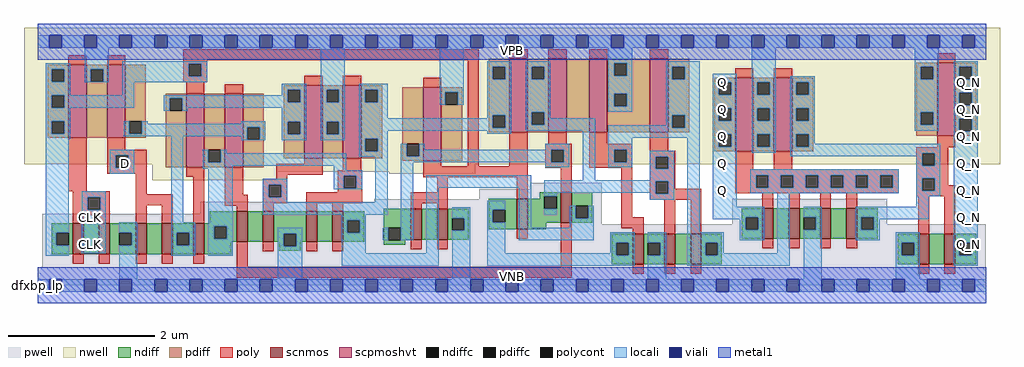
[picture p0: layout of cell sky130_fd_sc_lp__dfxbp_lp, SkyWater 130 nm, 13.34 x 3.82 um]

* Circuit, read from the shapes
.subckt sky130_fd_sc_lp__dfxbp_lp CLK D VGND VNB VPB VPWR Q Q_N
XM1 n1 CLK n2 VNB sky130_fd_pr__nfet_01v8 w=0.42 l=0.15
XM2 VGND CLK n1 VNB sky130_fd_pr__nfet_01v8 w=0.42 l=0.15
XM3 n3 D VGND VNB sky130_fd_pr__nfet_01v8 w=0.42 l=0.15
XM4 n4 D n3 VNB sky130_fd_pr__nfet_01v8 w=0.42 l=0.15
XM5 n5 n2 n4 VNB sky130_fd_pr__nfet_01v8 w=0.42 l=0.15
XM6 n6 n7 n5 VNB sky130_fd_pr__nfet_01v8 w=0.42 l=0.15
XM7 VGND n8 n6 VNB sky130_fd_pr__nfet_01v8 w=0.42 l=0.15
XM8 n9 n5 VGND VNB sky130_fd_pr__nfet_01v8 w=0.42 l=0.15
XM9 n8 n5 n9 VNB sky130_fd_pr__nfet_01v8 w=0.42 l=0.15
XM10 n10 n2 n7 VNB sky130_fd_pr__nfet_01v8 w=0.42 l=0.15
XM11 VGND n2 n10 VNB sky130_fd_pr__nfet_01v8 w=0.42 l=0.15
XM12 n11 n2 n12 VNB sky130_fd_pr__nfet_01v8 w=0.42 l=0.15
XM13 n8 n7 n11 VNB sky130_fd_pr__nfet_01v8 w=0.42 l=0.15
XM14 VGND n13 n12 VNB sky130_fd_pr__nfet_01v8 w=0.42 l=0.15
XM15 n14 n11 VGND VNB sky130_fd_pr__nfet_01v8 w=0.42 l=0.15
XM16 n13 n11 n14 VNB sky130_fd_pr__nfet_01v8 w=0.42 l=0.15
XM17 n15 n13 Q VNB sky130_fd_pr__nfet_01v8 w=0.42 l=0.15
XM18 VGND n13 n15 VNB sky130_fd_pr__nfet_01v8 w=0.42 l=0.15
XM19 n16 n13 VGND VNB sky130_fd_pr__nfet_01v8 w=0.42 l=0.15
XM20 n17 n13 n16 VNB sky130_fd_pr__nfet_01v8 w=0.42 l=0.15
XM21 n18 n17 VGND VNB sky130_fd_pr__nfet_01v8 w=0.42 l=0.15
XM22 Q_N n17 n18 VNB sky130_fd_pr__nfet_01v8 w=0.42 l=0.15
XM23 VPWR CLK n2 VPB sky130_fd_pr__pfet_01v8_hvt w=1 l=0.25
XM24 n4 D VPWR VPB sky130_fd_pr__pfet_01v8_hvt w=1 l=0.25
XM25 n5 n2 n19 VPB sky130_fd_pr__pfet_01v8_hvt w=1 l=0.25
XM26 n4 n7 n5 VPB sky130_fd_pr__pfet_01v8_hvt w=1 l=0.25
XM27 VPWR n8 n19 VPB sky130_fd_pr__pfet_01v8_hvt w=1 l=0.25
XM28 n8 n5 VPWR VPB sky130_fd_pr__pfet_01v8_hvt w=1 l=0.25
XM29 VPWR n2 n7 VPB sky130_fd_pr__pfet_01v8_hvt w=1 l=0.25
XM30 n11 n2 n8 VPB sky130_fd_pr__pfet_01v8_hvt w=1 l=0.25
XM31 n20 n7 n11 VPB sky130_fd_pr__pfet_01v8_hvt w=1 l=0.25
XM32 VPWR n13 n20 VPB sky130_fd_pr__pfet_01v8_hvt w=1 l=0.25
XM33 n13 n11 VPWR VPB sky130_fd_pr__pfet_01v8_hvt w=1 l=0.25
XM34 VPWR n13 Q VPB sky130_fd_pr__pfet_01v8_hvt w=1 l=0.25
XM35 n17 n13 VPWR VPB sky130_fd_pr__pfet_01v8_hvt w=1 l=0.25
XM36 Q_N n17 VPWR VPB sky130_fd_pr__pfet_01v8_hvt w=1 l=0.25
.ends

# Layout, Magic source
magic
tech sky130A
magscale 1 2
<< nwell >>
rect -38 331 2630 704
rect 313 311 1196 331
rect 313 287 654 311
rect 960 305 1196 311
<< pwell >>
rect 1346 263 1541 281
rect 1206 235 1541 263
rect 920 229 1541 235
rect 444 195 1541 229
rect 12 167 1541 195
rect 1898 167 2322 237
rect 12 49 2591 167
rect 0 0 2592 49
<< scnmos >>
rect 95 85 125 169
rect 167 85 197 169
rect 267 85 297 169
rect 339 85 369 169
rect 425 85 455 169
rect 543 119 573 203
rect 615 119 645 203
rect 733 119 763 203
rect 805 119 835 203
rect 1019 125 1049 209
rect 1091 125 1121 209
rect 1309 153 1339 237
rect 1429 171 1459 255
rect 1626 57 1656 141
rect 1712 57 1742 141
rect 1784 57 1814 141
rect 1980 127 2010 211
rect 2052 127 2082 211
rect 2138 127 2168 211
rect 2210 127 2240 211
rect 2406 57 2436 141
rect 2478 57 2508 141
<< scpmoshvt >>
rect 83 403 133 603
rect 189 403 239 603
rect 405 323 455 523
rect 511 323 561 523
rect 728 347 778 547
rect 834 347 884 547
rect 1053 341 1103 541
rect 1289 419 1339 619
rect 1395 419 1445 619
rect 1507 419 1557 619
rect 1673 419 1723 619
rect 1906 367 1956 567
rect 2012 367 2062 567
rect 2458 409 2508 609
<< ndiff >>
rect 1372 243 1429 255
rect 1372 237 1384 243
rect 470 169 543 203
rect 38 144 95 169
rect 38 110 50 144
rect 84 110 95 144
rect 38 85 95 110
rect 125 85 167 169
rect 197 144 267 169
rect 197 110 222 144
rect 256 110 267 144
rect 197 85 267 110
rect 297 85 339 169
rect 369 144 425 169
rect 369 110 380 144
rect 414 110 425 144
rect 369 85 425 110
rect 455 161 543 169
rect 455 127 482 161
rect 516 127 543 161
rect 455 119 543 127
rect 573 119 615 203
rect 645 141 733 203
rect 645 119 672 141
rect 455 85 528 119
rect 660 107 672 119
rect 706 119 733 141
rect 763 119 805 203
rect 835 178 892 203
rect 835 144 846 178
rect 880 144 892 178
rect 835 119 892 144
rect 946 157 1019 209
rect 946 123 958 157
rect 992 125 1019 157
rect 1049 125 1091 209
rect 1121 184 1178 209
rect 1121 150 1132 184
rect 1166 150 1178 184
rect 1232 207 1309 237
rect 1232 173 1244 207
rect 1278 173 1309 207
rect 1232 153 1309 173
rect 1339 209 1384 237
rect 1418 209 1429 243
rect 1339 171 1429 209
rect 1459 217 1515 255
rect 1459 183 1470 217
rect 1504 183 1515 217
rect 1459 171 1515 183
rect 1339 153 1389 171
rect 1121 125 1178 150
rect 992 123 1004 125
rect 706 107 718 119
rect 660 95 718 107
rect 946 111 1004 123
rect 1924 186 1980 211
rect 1924 152 1935 186
rect 1969 152 1980 186
rect 1569 116 1626 141
rect 1569 82 1581 116
rect 1615 82 1626 116
rect 1569 57 1626 82
rect 1656 116 1712 141
rect 1656 82 1667 116
rect 1701 82 1712 116
rect 1656 57 1712 82
rect 1742 57 1784 141
rect 1814 116 1870 141
rect 1924 127 1980 152
rect 2010 127 2052 211
rect 2082 186 2138 211
rect 2082 152 2093 186
rect 2127 152 2138 186
rect 2082 127 2138 152
rect 2168 127 2210 211
rect 2240 186 2296 211
rect 2240 152 2251 186
rect 2285 152 2296 186
rect 2240 127 2296 152
rect 1814 82 1825 116
rect 1859 82 1870 116
rect 2350 116 2406 141
rect 1814 57 1870 82
rect 2350 82 2361 116
rect 2395 82 2406 116
rect 2350 57 2406 82
rect 2436 57 2478 141
rect 2508 116 2565 141
rect 2508 82 2519 116
rect 2553 82 2565 116
rect 2508 57 2565 82
<< pdiff >>
rect 27 591 83 603
rect 27 557 38 591
rect 72 557 83 591
rect 27 520 83 557
rect 27 486 38 520
rect 72 486 83 520
rect 27 449 83 486
rect 27 415 38 449
rect 72 415 83 449
rect 27 403 83 415
rect 133 590 189 603
rect 133 556 144 590
rect 178 556 189 590
rect 133 403 189 556
rect 239 449 295 603
rect 672 535 728 547
rect 239 415 250 449
rect 284 415 295 449
rect 239 403 295 415
rect 349 511 405 523
rect 349 477 360 511
rect 394 477 405 511
rect 349 323 405 477
rect 455 370 511 523
rect 455 336 466 370
rect 500 336 511 370
rect 455 323 511 336
rect 561 432 618 523
rect 561 398 572 432
rect 606 398 618 432
rect 561 323 618 398
rect 672 501 683 535
rect 717 501 728 535
rect 672 447 728 501
rect 672 413 683 447
rect 717 413 728 447
rect 672 347 728 413
rect 778 535 834 547
rect 778 501 789 535
rect 823 501 834 535
rect 778 447 834 501
rect 778 413 789 447
rect 823 413 834 447
rect 778 347 834 413
rect 884 535 941 547
rect 884 501 895 535
rect 929 501 941 535
rect 884 401 941 501
rect 884 367 895 401
rect 929 367 941 401
rect 884 347 941 367
rect 996 387 1053 541
rect 996 353 1008 387
rect 1042 353 1053 387
rect 996 341 1053 353
rect 1103 528 1160 541
rect 1103 494 1114 528
rect 1148 494 1160 528
rect 1103 341 1160 494
rect 1232 597 1289 619
rect 1232 563 1244 597
rect 1278 563 1289 597
rect 1232 465 1289 563
rect 1232 431 1244 465
rect 1278 431 1289 465
rect 1232 419 1289 431
rect 1339 597 1395 619
rect 1339 563 1350 597
rect 1384 563 1395 597
rect 1339 473 1395 563
rect 1339 439 1350 473
rect 1384 439 1395 473
rect 1339 419 1395 439
rect 1445 419 1507 619
rect 1557 607 1673 619
rect 1557 573 1575 607
rect 1609 573 1673 607
rect 1557 524 1673 573
rect 1557 490 1575 524
rect 1609 490 1673 524
rect 1557 419 1673 490
rect 1723 597 1780 619
rect 1723 563 1734 597
rect 1768 563 1780 597
rect 2401 597 2458 609
rect 1723 465 1780 563
rect 1723 431 1734 465
rect 1768 431 1780 465
rect 1723 419 1780 431
rect 1849 555 1906 567
rect 1849 521 1861 555
rect 1895 521 1906 555
rect 1849 484 1906 521
rect 1849 450 1861 484
rect 1895 450 1906 484
rect 1849 413 1906 450
rect 1849 379 1861 413
rect 1895 379 1906 413
rect 1849 367 1906 379
rect 1956 555 2012 567
rect 1956 521 1967 555
rect 2001 521 2012 555
rect 1956 484 2012 521
rect 1956 450 1967 484
rect 2001 450 2012 484
rect 1956 413 2012 450
rect 1956 379 1967 413
rect 2001 379 2012 413
rect 1956 367 2012 379
rect 2062 555 2119 567
rect 2062 521 2073 555
rect 2107 521 2119 555
rect 2062 484 2119 521
rect 2062 450 2073 484
rect 2107 450 2119 484
rect 2062 413 2119 450
rect 2062 379 2073 413
rect 2107 379 2119 413
rect 2401 563 2413 597
rect 2447 563 2458 597
rect 2401 473 2458 563
rect 2401 439 2413 473
rect 2447 439 2458 473
rect 2401 409 2458 439
rect 2508 597 2565 609
rect 2508 563 2519 597
rect 2553 563 2565 597
rect 2508 526 2565 563
rect 2508 492 2519 526
rect 2553 492 2565 526
rect 2508 455 2565 492
rect 2508 421 2519 455
rect 2553 421 2565 455
rect 2508 409 2565 421
rect 2062 367 2119 379
<< ndiffc >>
rect 50 110 84 144
rect 222 110 256 144
rect 380 110 414 144
rect 482 127 516 161
rect 672 107 706 141
rect 846 144 880 178
rect 958 123 992 157
rect 1132 150 1166 184
rect 1244 173 1278 207
rect 1384 209 1418 243
rect 1470 183 1504 217
rect 1935 152 1969 186
rect 1581 82 1615 116
rect 1667 82 1701 116
rect 2093 152 2127 186
rect 2251 152 2285 186
rect 1825 82 1859 116
rect 2361 82 2395 116
rect 2519 82 2553 116
<< pdiffc >>
rect 38 557 72 591
rect 38 486 72 520
rect 38 415 72 449
rect 144 556 178 590
rect 250 415 284 449
rect 360 477 394 511
rect 466 336 500 370
rect 572 398 606 432
rect 683 501 717 535
rect 683 413 717 447
rect 789 501 823 535
rect 789 413 823 447
rect 895 501 929 535
rect 895 367 929 401
rect 1008 353 1042 387
rect 1114 494 1148 528
rect 1244 563 1278 597
rect 1244 431 1278 465
rect 1350 563 1384 597
rect 1350 439 1384 473
rect 1575 573 1609 607
rect 1575 490 1609 524
rect 1734 563 1768 597
rect 1734 431 1768 465
rect 1861 521 1895 555
rect 1861 450 1895 484
rect 1861 379 1895 413
rect 1967 521 2001 555
rect 1967 450 2001 484
rect 1967 379 2001 413
rect 2073 521 2107 555
rect 2073 450 2107 484
rect 2073 379 2107 413
rect 2413 563 2447 597
rect 2413 439 2447 473
rect 2519 563 2553 597
rect 2519 492 2553 526
rect 2519 421 2553 455
<< poly >>
rect 83 603 133 629
rect 189 603 239 629
rect 397 615 1205 645
rect 1289 619 1339 645
rect 1395 619 1445 645
rect 1507 619 1557 645
rect 1673 619 1723 645
rect 397 605 463 615
rect 397 571 413 605
rect 447 571 463 605
rect 397 555 463 571
rect 405 523 455 555
rect 511 523 561 549
rect 728 547 778 573
rect 834 547 884 573
rect 83 257 133 403
rect 189 371 239 403
rect 189 355 297 371
rect 189 321 213 355
rect 247 321 297 355
rect 1053 541 1103 567
rect 728 332 778 347
rect 189 305 297 321
rect 95 241 197 257
rect 95 207 136 241
rect 170 207 197 241
rect 95 191 197 207
rect 95 169 125 191
rect 167 169 197 191
rect 267 249 297 305
rect 405 297 455 323
rect 267 219 369 249
rect 267 169 297 219
rect 339 169 369 219
rect 425 169 455 297
rect 511 248 561 323
rect 651 302 778 332
rect 834 315 884 347
rect 1053 326 1103 341
rect 1175 326 1205 615
rect 2458 609 2508 635
rect 1906 567 1956 593
rect 2012 567 2062 593
rect 1289 326 1339 419
rect 1395 387 1445 419
rect 1507 387 1557 419
rect 651 291 681 302
rect 615 275 681 291
rect 511 218 573 248
rect 543 203 573 218
rect 615 241 631 275
rect 665 241 681 275
rect 820 299 886 315
rect 820 265 836 299
rect 870 265 886 299
rect 1053 296 1339 326
rect 1387 371 1459 387
rect 1387 337 1403 371
rect 1437 337 1459 371
rect 1387 321 1459 337
rect 1507 371 1625 387
rect 1507 337 1575 371
rect 1609 337 1625 371
rect 1507 321 1625 337
rect 820 254 886 265
rect 1091 254 1121 296
rect 615 225 681 241
rect 615 203 645 225
rect 733 224 886 254
rect 1019 224 1121 254
rect 1309 237 1339 296
rect 1429 255 1459 321
rect 733 203 763 224
rect 805 203 835 224
rect 1019 209 1049 224
rect 1091 209 1121 224
rect 95 59 125 85
rect 167 59 197 85
rect 267 59 297 85
rect 339 59 369 85
rect 425 59 455 85
rect 543 51 573 119
rect 615 93 645 119
rect 1595 186 1625 321
rect 1673 368 1723 419
rect 1673 352 1742 368
rect 2458 377 2508 409
rect 1673 318 1689 352
rect 1723 318 1742 352
rect 1673 284 1742 318
rect 1673 250 1689 284
rect 1723 264 1742 284
rect 1906 317 1956 367
rect 2012 317 2062 367
rect 2401 361 2488 377
rect 2401 327 2417 361
rect 2451 327 2488 361
rect 1906 301 2353 317
rect 1906 267 1963 301
rect 1997 267 2031 301
rect 2065 267 2099 301
rect 2133 267 2167 301
rect 2201 267 2235 301
rect 2269 267 2303 301
rect 2337 267 2353 301
rect 1723 250 1814 264
rect 1906 251 2353 267
rect 2401 293 2488 327
rect 2401 259 2417 293
rect 2451 273 2488 293
rect 2451 259 2508 273
rect 1673 234 1814 250
rect 1309 127 1339 153
rect 733 93 763 119
rect 805 93 835 119
rect 1019 99 1049 125
rect 1091 99 1121 125
rect 1429 51 1459 171
rect 1595 156 1656 186
rect 1626 141 1656 156
rect 1712 141 1742 234
rect 1784 141 1814 234
rect 1980 211 2010 251
rect 2052 211 2082 251
rect 2138 211 2168 251
rect 2210 211 2240 251
rect 2401 243 2508 259
rect 2406 141 2436 243
rect 2478 141 2508 243
rect 1980 101 2010 127
rect 2052 101 2082 127
rect 2138 101 2168 127
rect 2210 101 2240 127
rect 543 21 1459 51
rect 1626 31 1656 57
rect 1712 31 1742 57
rect 1784 31 1814 57
rect 2406 31 2436 57
rect 2478 31 2508 57
<< polycont >>
rect 413 571 447 605
rect 213 321 247 355
rect 136 207 170 241
rect 631 241 665 275
rect 836 265 870 299
rect 1403 337 1437 371
rect 1575 337 1609 371
rect 1689 318 1723 352
rect 1689 250 1723 284
rect 2417 327 2451 361
rect 1963 267 1997 301
rect 2031 267 2065 301
rect 2099 267 2133 301
rect 2167 267 2201 301
rect 2235 267 2269 301
rect 2303 267 2337 301
rect 2417 259 2451 293
<< locali >>
rect 0 649 31 683
rect 65 649 127 683
rect 161 649 223 683
rect 257 649 319 683
rect 353 649 415 683
rect 449 649 511 683
rect 545 649 607 683
rect 641 649 703 683
rect 737 649 799 683
rect 833 649 895 683
rect 929 649 991 683
rect 1025 649 1087 683
rect 1121 649 1183 683
rect 1217 649 1279 683
rect 1313 649 1375 683
rect 1409 649 1471 683
rect 1505 649 1567 683
rect 1601 649 1663 683
rect 1697 649 1759 683
rect 1793 649 1855 683
rect 1889 649 1951 683
rect 1985 649 2047 683
rect 2081 649 2143 683
rect 2177 649 2239 683
rect 2273 649 2335 683
rect 2369 649 2431 683
rect 2465 649 2527 683
rect 2561 649 2592 683
rect 22 591 88 607
rect 22 557 38 591
rect 72 557 88 591
rect 22 520 88 557
rect 128 590 194 649
rect 128 556 144 590
rect 178 556 194 590
rect 128 555 194 556
rect 230 605 463 613
rect 230 571 413 605
rect 447 571 463 605
rect 230 555 463 571
rect 22 486 38 520
rect 72 519 88 520
rect 230 519 264 555
rect 667 535 733 551
rect 667 519 683 535
rect 72 486 264 519
rect 22 485 264 486
rect 344 511 683 519
rect 22 449 88 485
rect 344 477 360 511
rect 394 501 683 511
rect 717 501 733 535
rect 394 485 733 501
rect 394 477 410 485
rect 22 415 38 449
rect 72 415 88 449
rect 22 399 88 415
rect 234 415 250 449
rect 284 441 300 449
rect 556 441 622 449
rect 284 432 622 441
rect 284 415 572 432
rect 234 407 572 415
rect 22 144 84 399
rect 197 355 263 371
rect 197 321 213 355
rect 247 321 263 355
rect 197 305 263 321
rect 22 110 50 144
rect 22 81 84 110
rect 120 241 186 257
rect 120 207 136 241
rect 170 207 186 241
rect 120 88 186 207
rect 364 173 398 407
rect 556 398 572 407
rect 606 398 622 432
rect 556 397 622 398
rect 667 447 733 485
rect 667 413 683 447
rect 717 413 733 447
rect 667 397 733 413
rect 773 535 839 649
rect 773 501 789 535
rect 823 501 839 535
rect 773 447 839 501
rect 773 413 789 447
rect 823 413 839 447
rect 773 397 839 413
rect 879 535 956 551
rect 879 501 895 535
rect 929 501 956 535
rect 879 457 956 501
rect 1098 528 1164 649
rect 1098 494 1114 528
rect 1148 494 1164 528
rect 1098 493 1164 494
rect 1228 597 1294 613
rect 1228 563 1244 597
rect 1278 563 1294 597
rect 1228 465 1294 563
rect 1228 457 1244 465
rect 879 431 1244 457
rect 1278 431 1294 465
rect 879 423 1294 431
rect 1334 597 1400 613
rect 1334 563 1350 597
rect 1384 563 1400 597
rect 1334 473 1400 563
rect 1559 607 1625 649
rect 1559 573 1575 607
rect 1609 573 1625 607
rect 1559 524 1625 573
rect 1559 490 1575 524
rect 1609 490 1625 524
rect 1559 474 1625 490
rect 1718 597 1809 613
rect 1718 563 1734 597
rect 1768 563 1809 597
rect 1334 439 1350 473
rect 1384 457 1400 473
rect 1718 465 1809 563
rect 1384 439 1523 457
rect 1334 423 1523 439
rect 1718 438 1734 465
rect 879 401 956 423
rect 1228 415 1294 423
rect 450 370 516 371
rect 450 336 466 370
rect 500 361 516 370
rect 879 367 895 401
rect 929 367 956 401
rect 500 336 843 361
rect 879 351 956 367
rect 450 327 843 336
rect 450 319 532 327
rect 222 144 272 173
rect 256 110 272 144
rect 222 17 272 110
rect 364 144 430 173
rect 364 110 380 144
rect 414 110 430 144
rect 364 81 430 110
rect 466 161 532 319
rect 809 315 843 327
rect 809 299 886 315
rect 615 275 681 291
rect 615 241 631 275
rect 665 241 681 275
rect 809 265 836 299
rect 870 265 886 299
rect 809 263 886 265
rect 615 227 681 241
rect 922 227 956 351
rect 615 193 956 227
rect 992 353 1008 387
rect 1042 371 1058 387
rect 1387 371 1453 387
rect 1042 353 1403 371
rect 992 337 1403 353
rect 1437 337 1453 371
rect 466 127 482 161
rect 516 127 532 161
rect 830 178 896 193
rect 466 81 532 127
rect 656 141 722 157
rect 656 107 672 141
rect 706 107 722 141
rect 656 17 722 107
rect 830 144 846 178
rect 880 144 896 178
rect 830 87 896 144
rect 942 123 958 157
rect 992 123 1026 337
rect 1387 323 1453 337
rect 1062 267 1348 301
rect 1489 287 1523 423
rect 1559 431 1734 438
rect 1768 431 1809 465
rect 1559 404 1809 431
rect 1559 371 1625 404
rect 1559 337 1575 371
rect 1609 337 1625 371
rect 1559 323 1625 337
rect 1673 352 1739 368
rect 1673 318 1689 352
rect 1723 318 1739 352
rect 1673 287 1739 318
rect 1062 87 1096 267
rect 830 53 1096 87
rect 1132 184 1182 213
rect 1166 150 1182 184
rect 1132 17 1182 150
rect 1228 207 1278 231
rect 1228 173 1244 207
rect 1228 87 1278 173
rect 1314 157 1348 267
rect 1384 284 1739 287
rect 1384 253 1689 284
rect 1384 243 1418 253
rect 1673 250 1689 253
rect 1723 250 1739 284
rect 1673 234 1739 250
rect 1384 193 1418 209
rect 1454 183 1470 217
rect 1504 183 1520 217
rect 1454 157 1520 183
rect 1314 123 1520 157
rect 1775 145 1809 404
rect 1845 555 1911 578
rect 1845 521 1861 555
rect 1895 521 1911 555
rect 1845 484 1911 521
rect 1845 450 1861 484
rect 1895 450 1911 484
rect 1845 413 1911 450
rect 1845 379 1861 413
rect 1895 379 1911 413
rect 1845 215 1911 379
rect 1951 555 2017 649
rect 2397 597 2463 649
rect 1951 521 1967 555
rect 2001 521 2017 555
rect 1951 484 2017 521
rect 1951 450 1967 484
rect 2001 450 2017 484
rect 1951 413 2017 450
rect 1951 379 1967 413
rect 2001 379 2017 413
rect 1951 363 2017 379
rect 2057 555 2123 571
rect 2057 521 2073 555
rect 2107 521 2123 555
rect 2057 484 2123 521
rect 2057 450 2073 484
rect 2107 450 2123 484
rect 2057 413 2123 450
rect 2397 563 2413 597
rect 2447 563 2463 597
rect 2397 473 2463 563
rect 2397 439 2413 473
rect 2447 439 2463 473
rect 2397 423 2463 439
rect 2503 597 2569 613
rect 2503 563 2519 597
rect 2553 563 2569 597
rect 2503 526 2569 563
rect 2503 492 2519 526
rect 2553 492 2569 526
rect 2503 455 2569 492
rect 2057 379 2073 413
rect 2107 387 2123 413
rect 2503 421 2519 455
rect 2553 421 2569 455
rect 2107 379 2467 387
rect 2057 361 2467 379
rect 2057 353 2417 361
rect 2401 327 2417 353
rect 2451 327 2467 361
rect 1947 301 2353 317
rect 1947 267 1963 301
rect 1997 267 2031 301
rect 2065 267 2099 301
rect 2133 267 2167 301
rect 2201 267 2235 301
rect 2269 267 2303 301
rect 2337 267 2353 301
rect 1947 251 2353 267
rect 2401 293 2467 327
rect 2401 259 2417 293
rect 2451 259 2467 293
rect 1845 186 1985 215
rect 1845 181 1935 186
rect 1919 152 1935 181
rect 1969 152 1985 186
rect 1565 116 1631 145
rect 1565 87 1581 116
rect 1228 82 1581 87
rect 1615 82 1631 116
rect 1228 53 1631 82
rect 1667 116 1717 145
rect 1701 82 1717 116
rect 1667 17 1717 82
rect 1775 116 1875 145
rect 1919 123 1985 152
rect 1775 82 1825 116
rect 1859 87 1875 116
rect 2021 87 2055 251
rect 2401 243 2467 259
rect 2401 215 2435 243
rect 1859 82 2055 87
rect 1775 53 2055 82
rect 2093 186 2143 215
rect 2127 152 2143 186
rect 2093 17 2143 152
rect 2235 186 2435 215
rect 2235 152 2251 186
rect 2285 181 2435 186
rect 2285 152 2301 181
rect 2235 123 2301 152
rect 2345 116 2411 145
rect 2345 82 2361 116
rect 2395 82 2411 116
rect 2345 17 2411 82
rect 2503 116 2569 421
rect 2503 82 2519 116
rect 2553 82 2569 116
rect 2503 53 2569 82
rect 0 -17 31 17
rect 65 -17 127 17
rect 161 -17 223 17
rect 257 -17 319 17
rect 353 -17 415 17
rect 449 -17 511 17
rect 545 -17 607 17
rect 641 -17 703 17
rect 737 -17 799 17
rect 833 -17 895 17
rect 929 -17 991 17
rect 1025 -17 1087 17
rect 1121 -17 1183 17
rect 1217 -17 1279 17
rect 1313 -17 1375 17
rect 1409 -17 1471 17
rect 1505 -17 1567 17
rect 1601 -17 1663 17
rect 1697 -17 1759 17
rect 1793 -17 1855 17
rect 1889 -17 1951 17
rect 1985 -17 2047 17
rect 2081 -17 2143 17
rect 2177 -17 2239 17
rect 2273 -17 2335 17
rect 2369 -17 2431 17
rect 2465 -17 2527 17
rect 2561 -17 2592 17
<< viali >>
rect 31 649 65 683
rect 127 649 161 683
rect 223 649 257 683
rect 319 649 353 683
rect 415 649 449 683
rect 511 649 545 683
rect 607 649 641 683
rect 703 649 737 683
rect 799 649 833 683
rect 895 649 929 683
rect 991 649 1025 683
rect 1087 649 1121 683
rect 1183 649 1217 683
rect 1279 649 1313 683
rect 1375 649 1409 683
rect 1471 649 1505 683
rect 1567 649 1601 683
rect 1663 649 1697 683
rect 1759 649 1793 683
rect 1855 649 1889 683
rect 1951 649 1985 683
rect 2047 649 2081 683
rect 2143 649 2177 683
rect 2239 649 2273 683
rect 2335 649 2369 683
rect 2431 649 2465 683
rect 2527 649 2561 683
rect 31 -17 65 17
rect 127 -17 161 17
rect 223 -17 257 17
rect 319 -17 353 17
rect 415 -17 449 17
rect 511 -17 545 17
rect 607 -17 641 17
rect 703 -17 737 17
rect 799 -17 833 17
rect 895 -17 929 17
rect 991 -17 1025 17
rect 1087 -17 1121 17
rect 1183 -17 1217 17
rect 1279 -17 1313 17
rect 1375 -17 1409 17
rect 1471 -17 1505 17
rect 1567 -17 1601 17
rect 1663 -17 1697 17
rect 1759 -17 1793 17
rect 1855 -17 1889 17
rect 1951 -17 1985 17
rect 2047 -17 2081 17
rect 2143 -17 2177 17
rect 2239 -17 2273 17
rect 2335 -17 2369 17
rect 2431 -17 2465 17
rect 2527 -17 2561 17
<< metal1 >>
rect 0 683 2592 715
rect 0 649 31 683
rect 65 649 127 683
rect 161 649 223 683
rect 257 649 319 683
rect 353 649 415 683
rect 449 649 511 683
rect 545 649 607 683
rect 641 649 703 683
rect 737 649 799 683
rect 833 649 895 683
rect 929 649 991 683
rect 1025 649 1087 683
rect 1121 649 1183 683
rect 1217 649 1279 683
rect 1313 649 1375 683
rect 1409 649 1471 683
rect 1505 649 1567 683
rect 1601 649 1663 683
rect 1697 649 1759 683
rect 1793 649 1855 683
rect 1889 649 1951 683
rect 1985 649 2047 683
rect 2081 649 2143 683
rect 2177 649 2239 683
rect 2273 649 2335 683
rect 2369 649 2431 683
rect 2465 649 2527 683
rect 2561 649 2592 683
rect 0 617 2592 649
rect 0 17 2592 49
rect 0 -17 31 17
rect 65 -17 127 17
rect 161 -17 223 17
rect 257 -17 319 17
rect 353 -17 415 17
rect 449 -17 511 17
rect 545 -17 607 17
rect 641 -17 703 17
rect 737 -17 799 17
rect 833 -17 895 17
rect 929 -17 991 17
rect 1025 -17 1087 17
rect 1121 -17 1183 17
rect 1217 -17 1279 17
rect 1313 -17 1375 17
rect 1409 -17 1471 17
rect 1505 -17 1567 17
rect 1601 -17 1663 17
rect 1697 -17 1759 17
rect 1793 -17 1855 17
rect 1889 -17 1951 17
rect 1985 -17 2047 17
rect 2081 -17 2143 17
rect 2177 -17 2239 17
rect 2273 -17 2335 17
rect 2369 -17 2431 17
rect 2465 -17 2527 17
rect 2561 -17 2592 17
rect 0 -49 2592 -17
<< labels >>
flabel pwell s 0 0 2592 49 0 FreeSans 200 0 0 0 VNB
port 4 nsew ground bidirectional
flabel nwell s 0 617 2592 666 0 FreeSans 200 0 0 0 VPB
port 5 nsew power bidirectional
rlabel comment s 0 0 0 0 4 dfxbp_lp
flabel metal1 s 0 617 2592 666 0 FreeSans 340 0 0 0 VPWR
port 6 nsew power bidirectional
flabel metal1 s 0 0 2592 49 0 FreeSans 340 0 0 0 VGND
port 3 nsew ground bidirectional
flabel locali s 127 94 161 128 0 FreeSans 340 0 0 0 CLK
port 1 nsew clock input
flabel locali s 127 168 161 202 0 FreeSans 340 0 0 0 CLK
port 1 nsew clock input
flabel locali s 223 316 257 350 0 FreeSans 340 0 0 0 D
port 2 nsew signal input
flabel locali s 1855 242 1889 276 0 FreeSans 340 0 0 0 Q
port 7 nsew signal output
flabel locali s 1855 316 1889 350 0 FreeSans 340 0 0 0 Q
port 7 nsew signal output
flabel locali s 1855 390 1889 424 0 FreeSans 340 0 0 0 Q
port 7 nsew signal output
flabel locali s 1855 464 1889 498 0 FreeSans 340 0 0 0 Q
port 7 nsew signal output
flabel locali s 1855 538 1889 572 0 FreeSans 340 0 0 0 Q
port 7 nsew signal output
flabel locali s 2527 94 2561 128 0 FreeSans 340 0 0 0 Q_N
port 8 nsew signal output
flabel locali s 2527 168 2561 202 0 FreeSans 340 0 0 0 Q_N
port 8 nsew signal output
flabel locali s 2527 242 2561 276 0 FreeSans 340 0 0 0 Q_N
port 8 nsew signal output
flabel locali s 2527 316 2561 350 0 FreeSans 340 0 0 0 Q_N
port 8 nsew signal output
flabel locali s 2527 390 2561 424 0 FreeSans 340 0 0 0 Q_N
port 8 nsew signal output
flabel locali s 2527 464 2561 498 0 FreeSans 340 0 0 0 Q_N
port 8 nsew signal output
flabel locali s 2527 538 2561 572 0 FreeSans 340 0 0 0 Q_N
port 8 nsew signal output
<< properties >>
string LEFsite unit
string LEFclass CORE
string FIXED_BBOX 0 0 2592 666
string GDS_FILE $PDKPATH/libs.ref/sky130_fd_sc_lp/gds/sky130_fd_sc_lp.gds
string LEFsymmetry X Y R90
string GDS_END 2524446
string GDS_START 2507084
<< end >>
